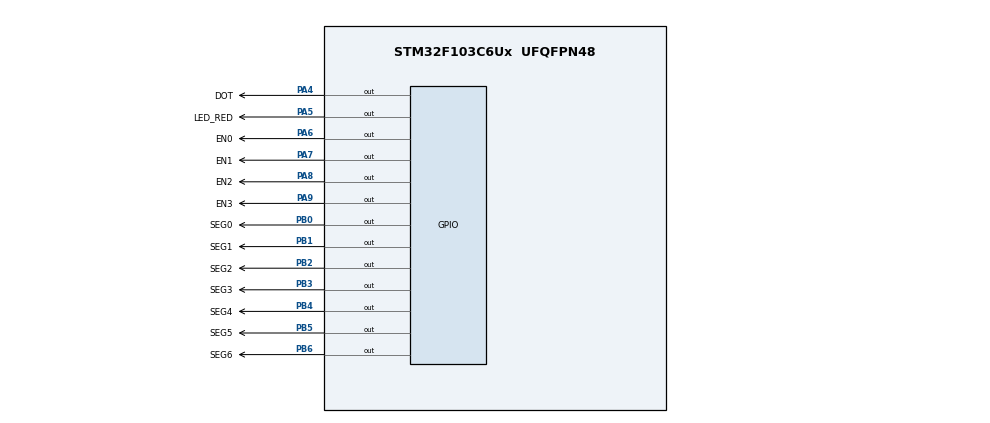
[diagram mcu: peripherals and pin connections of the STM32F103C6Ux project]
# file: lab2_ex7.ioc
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Mcu.Family=STM32F1
Mcu.Name=STM32F103C6Ux
Mcu.Package=UFQFPN48
NVIC.PriorityGroup=NVIC_PRIORITYGROUP_4
NVIC.TIM2_IRQn=true\:0\:0\:false\:false\:true\:true\:true
PA4.GPIO_Label=DOT
PA4.Signal=GPIO_Output
PA5.GPIO_Label=LED_RED
PA5.Signal=GPIO_Output
PA6.GPIO_Label=EN0
PA6.Signal=GPIO_Output
PA7.GPIO_Label=EN1
PA7.Signal=GPIO_Output
PA8.GPIO_Label=EN2
PA8.Signal=GPIO_Output
PA9.GPIO_Label=EN3
PA9.Signal=GPIO_Output
PB0.GPIO_Label=SEG0
PB0.Signal=GPIO_Output
PB1.GPIO_Label=SEG1
PB1.Signal=GPIO_Output
PB2.GPIO_Label=SEG2
PB2.Signal=GPIO_Output
PB3.GPIO_Label=SEG3
PB3.Signal=GPIO_Output
PB4.GPIO_Label=SEG4
PB4.Signal=GPIO_Output
PB5.GPIO_Label=SEG5
PB5.Signal=GPIO_Output
PB6.GPIO_Label=SEG6
PB6.Signal=GPIO_Output
ProjectManager.HeapSize=0x200
ProjectManager.StackSize=0x400
ProjectManager.TargetToolchain=STM32CubeIDE
RCC.APB1Freq_Value=8000000
RCC.APB2Freq_Value=8000000
TIM2.Period=9
TIM2.Prescaler=7999
VP_SYS_VS_ND.Mode=No_Debug
VP_TIM2_VS_ClockSourceINT.Mode=Internal
board=custom

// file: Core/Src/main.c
/* USER CODE BEGIN Header */
/**
  ******************************************************************************
  * @file           : main.c
  * @brief          : Main program body
  ******************************************************************************
  * @attention
  *
  * <h2><center>&copy; Copyright (c) 2023 STMicroelectronics.
  * All rights reserved.</center></h2>
  *
  * This software component is licensed by ST under BSD 3-Clause license,
  * the "License"; You may not use this file except in compliance with the
  * License. You may obtain a copy of the License at:
  *                        opensource.org/licenses/BSD-3-Clause
  *
  ******************************************************************************
  */
/* USER CODE END Header */
#include "main.h"

TIM_HandleTypeDef htim2;

void SystemClock_Config(void);
static void MX_GPIO_Init(void);
static void MX_TIM2_Init(void);

/* USER CODE BEGIN 0 */
// display led 7 segment
void display7SEG(int num){
	  HAL_GPIO_WritePin(SEG0_GPIO_Port, SEG0_Pin, RESET);
	  HAL_GPIO_WritePin(SEG1_GPIO_Port, SEG1_Pin, RESET);
	  HAL_GPIO_WritePin(SEG2_GPIO_Port, SEG2_Pin, RESET);
	  HAL_GPIO_WritePin(SEG3_GPIO_Port, SEG3_Pin, RESET);
	  HAL_GPIO_WritePin(SEG4_GPIO_Port, SEG4_Pin, RESET);
	  HAL_GPIO_WritePin(SEG5_GPIO_Port, SEG5_Pin, RESET);
	  HAL_GPIO_WritePin(SEG6_GPIO_Port, SEG6_Pin, RESET);
	  switch(num){
		  case 0:
			  HAL_GPIO_WritePin(SEG6_GPIO_Port, SEG6_Pin, SET);
			  break;
		  case 1:
			  HAL_GPIO_WritePin(SEG0_GPIO_Port, SEG0_Pin, SET);
			  HAL_GPIO_WritePin(SEG3_GPIO_Port, SEG3_Pin, SET);
			  HAL_GPIO_WritePin(SEG4_GPIO_Port, SEG4_Pin, SET);
			  HAL_GPIO_WritePin(SEG5_GPIO_Port, SEG5_Pin, SET);
			  HAL_GPIO_WritePin(SEG6_GPIO_Port, SEG6_Pin, SET);
			  break;
		  case 2:
			  HAL_GPIO_WritePin(SEG2_GPIO_Port, SEG2_Pin, SET);
			  HAL_GPIO_WritePin(SEG5_GPIO_Port, SEG5_Pin, SET);
			  break;
		  case 3:
			  HAL_GPIO_WritePin(SEG4_GPIO_Port, SEG4_Pin, SET);
			  HAL_GPIO_WritePin(SEG5_GPIO_Port, SEG5_Pin, SET);
			  break;
		  case 4:
			  HAL_GPIO_WritePin(SEG0_GPIO_Port, SEG0_Pin, SET);
			  HAL_GPIO_WritePin(SEG3_GPIO_Port, SEG3_Pin, SET);
			  HAL_GPIO_WritePin(SEG4_GPIO_Port, SEG4_Pin, SET);
			  break;
		  case 5:
			  HAL_GPIO_WritePin(SEG1_GPIO_Port, SEG1_Pin, SET);
			  HAL_GPIO_WritePin(SEG4_GPIO_Port, SEG4_Pin, SET);
			  break;
		  case 6:
			  HAL_GPIO_WritePin(SEG1_GPIO_Port, SEG1_Pin, SET);
			  break;
		  case 7:
			  HAL_GPIO_WritePin(SEG3_GPIO_Port, SEG3_Pin, SET);
			  HAL_GPIO_WritePin(SEG4_GPIO_Port, SEG4_Pin, SET);
			  HAL_GPIO_WritePin(SEG5_GPIO_Port, SEG5_Pin, SET);
			  HAL_GPIO_WritePin(SEG6_GPIO_Port, SEG6_Pin, SET);
			  break;
		  case 8:
			  break;
		  case 9:
			  HAL_GPIO_WritePin(SEG4_GPIO_Port, SEG4_Pin, SET);
			  break;
		  default:
			  break;
	  }
}

const int MAX_LED = 4;
int index_led = 0;
int led_buffer[4] = {1 , 5 , 0 , 8};
int hour, minute, second;

void update7SEG (int index){
	HAL_GPIO_WritePin(EN0_GPIO_Port, EN0_Pin, 1);
	HAL_GPIO_WritePin(EN1_GPIO_Port, EN1_Pin, 1);
	HAL_GPIO_WritePin(EN2_GPIO_Port, EN2_Pin, 1);
	HAL_GPIO_WritePin(EN3_GPIO_Port, EN3_Pin, 1);
	switch (index){
		case 0:
			// Display the first 7 SEG with SEG1uffer [0]
			HAL_GPIO_WritePin(EN0_GPIO_Port, EN0_Pin, 0);
			display7SEG(led_buffer[0]);
			break ;
		case 1:
			// Display the second 7 SEG with SEG1uffer [1]
			HAL_GPIO_WritePin(EN1_GPIO_Port, EN1_Pin, 0);
			display7SEG(led_buffer[1]);
			break ;
		case 2:
			// Display the third 7 SEG with SEG1uffer [2]
			HAL_GPIO_WritePin(EN2_GPIO_Port, EN2_Pin, 0);
			display7SEG(led_buffer[2]);
			break ;
		case 3:
			// Display the forth 7 SEG with SEG1uffer [3]
			HAL_GPIO_WritePin(EN3_GPIO_Port, EN3_Pin, 0);
			display7SEG(led_buffer[3]);
			break ;
		default :
			break ;
	}
}

void updateClockBuffer(){
	if(hour < 10){
		led_buffer[0] = 0;
		led_buffer[1] = hour;
	}
	if(hour >= 10){
		led_buffer[0] = hour/10;
		led_buffer[1] = hour%10;
	}
	if(minute < 10){
		led_buffer[2] = 0;
		led_buffer[3] = minute;
	}
	if(minute >= 10){
		led_buffer[2] = minute/10;
		led_buffer[3] = minute%10;
	}
}

//software timer
// timer for LED_RED and DOT
int timer0_counter = 0;
int timer0_flag = 0;

//timer for update values for hour, minute and second
int timer1_counter = 0;
int timer1_flag = 0;

int TIMER_CYCLE = 10;

//set timer for LED_RED and DOT
void setTimer0(int duration){
	timer0_counter = duration /TIMER_CYCLE;
	timer0_flag = 0;
}

//set timer for update values for hour, minute and second
void setTimer1(int duration){
	timer1_counter = duration /TIMER_CYCLE;
	timer1_flag = 0;
}

void timer_run(){
	//counter for LED_RED and DOT
	if(timer0_counter > 0){
		timer0_counter--;
		if(timer0_counter == 0) timer0_flag = 1;
	}

	//counter for update values hour, minute, second
	if(timer1_counter > 0){
		timer1_counter--;
		if(timer1_counter == 0) timer1_flag = 1;
	}
}
/* USER CODE END 0 */

int main(void)
{

  /* MCU Configuration--------------------------------------------------------*/

  /* Reset of all peripherals, Initializes the Flash interface and the Systick. */
  HAL_Init();

  /* Configure the system clock */
  SystemClock_Config();

  /* Initialize all configured peripherals */
  MX_GPIO_Init();
  MX_TIM2_Init();
  /* USER CODE BEGIN 2 */
  HAL_TIM_Base_Start_IT(&htim2);
  /* USER CODE END 2 */

  /* Infinite loop */
  /* USER CODE BEGIN WHILE */
  hour = 15;
  minute = 8;
  second = 50;
  setTimer0(1000);
  setTimer1(1000);
  while (1)
  {
    /* USER CODE END WHILE */
	  //control LED_RED and DOT
	  if(timer0_flag == 1){
	      HAL_GPIO_TogglePin(LED_RED_GPIO_Port, LED_RED_Pin);
	      HAL_GPIO_TogglePin(DOT_GPIO_Port, DOT_Pin);
	      setTimer0(1000);
	  }
	  //control update values for hour, minute and second
	  if(timer1_flag == 1){
		  second++;
		  if(second >= 60){
			  second = 0;
			  minute++;
		  }
		  if(minute >= 60){
			  minute = 0;
			  hour++;
		  }
		  if(hour >= 24){
			  hour = 0;
		  }
		  updateClockBuffer();
		  setTimer1(1000);
	  }

  }
}

void SystemClock_Config(void)
{
  RCC_OscInitTypeDef RCC_OscInitStruct = {0};
  RCC_ClkInitTypeDef RCC_ClkInitStruct = {0};

  /** Initializes the RCC Oscillators according to the specified parameters
  * in the RCC_OscInitTypeDef structure.
  */
  RCC_OscInitStruct.OscillatorType = RCC_OSCILLATORTYPE_HSI;
  RCC_OscInitStruct.HSIState = RCC_HSI_ON;
  RCC_OscInitStruct.HSICalibrationValue = RCC_HSICALIBRATION_DEFAULT;
  RCC_OscInitStruct.PLL.PLLState = RCC_PLL_NONE;
  if (HAL_RCC_OscConfig(&RCC_OscInitStruct) != HAL_OK)
  {
    Error_Handler();
  }
  /** Initializes the CPU, AHB and APB buses clocks
  */
  RCC_ClkInitStruct.ClockType = RCC_CLOCKTYPE_HCLK|RCC_CLOCKTYPE_SYSCLK
                              |RCC_CLOCKTYPE_PCLK1|RCC_CLOCKTYPE_PCLK2;
  RCC_ClkInitStruct.SYSCLKSource = RCC_SYSCLKSOURCE_HSI;
  RCC_ClkInitStruct.AHBCLKDivider = RCC_SYSCLK_DIV1;
  RCC_ClkInitStruct.APB1CLKDivider = RCC_HCLK_DIV1;
  RCC_ClkInitStruct.APB2CLKDivider = RCC_HCLK_DIV1;

  if (HAL_RCC_ClockConfig(&RCC_ClkInitStruct, FLASH_LATENCY_0) != HAL_OK)
  {
    Error_Handler();
  }
}

static void MX_TIM2_Init(void)
{

  TIM_ClockConfigTypeDef sClockSourceConfig = {0};
  TIM_MasterConfigTypeDef sMasterConfig = {0};

  htim2.Instance = TIM2;
  htim2.Init.Prescaler = 7999;
  htim2.Init.CounterMode = TIM_COUNTERMODE_UP;
  htim2.Init.Period = 9;
  htim2.Init.ClockDivision = TIM_CLOCKDIVISION_DIV1;
  htim2.Init.AutoReloadPreload = TIM_AUTORELOAD_PRELOAD_DISABLE;
  if (HAL_TIM_Base_Init(&htim2) != HAL_OK)
  {
    Error_Handler();
  }
  sClockSourceConfig.ClockSource = TIM_CLOCKSOURCE_INTERNAL;
  if (HAL_TIM_ConfigClockSource(&htim2, &sClockSourceConfig) != HAL_OK)
  {
    Error_Handler();
  }
  sMasterConfig.MasterOutputTrigger = TIM_TRGO_RESET;
  sMasterConfig.MasterSlaveMode = TIM_MASTERSLAVEMODE_DISABLE;
  if (HAL_TIMEx_MasterConfigSynchronization(&htim2, &sMasterConfig) != HAL_OK)
  {
    Error_Handler();
  }

}

static void MX_GPIO_Init(void)
{
  GPIO_InitTypeDef GPIO_InitStruct = {0};

  /* GPIO Ports Clock Enable */
  __HAL_RCC_GPIOA_CLK_ENABLE();
  __HAL_RCC_GPIOB_CLK_ENABLE();

  /*Configure GPIO pin Output Level */
  HAL_GPIO_WritePin(GPIOA, DOT_Pin|LED_RED_Pin|EN0_Pin|EN1_Pin
                          |EN2_Pin|EN3_Pin, GPIO_PIN_RESET);

  /*Configure GPIO pin Output Level */
  HAL_GPIO_WritePin(GPIOB, SEG0_Pin|SEG1_Pin|SEG2_Pin|SEG3_Pin
                          |SEG4_Pin|SEG5_Pin|SEG6_Pin, GPIO_PIN_RESET);

  /*Configure GPIO pins : DOT_Pin LED_RED_Pin EN0_Pin EN1_Pin
                           EN2_Pin EN3_Pin */
  GPIO_InitStruct.Pin = DOT_Pin|LED_RED_Pin|EN0_Pin|EN1_Pin
                          |EN2_Pin|EN3_Pin;
  GPIO_InitStruct.Mode = GPIO_MODE_OUTPUT_PP;
  GPIO_InitStruct.Pull = GPIO_NOPULL;
  GPIO_InitStruct.Speed = GPIO_SPEED_FREQ_LOW;
  HAL_GPIO_Init(GPIOA, &GPIO_InitStruct);

  /*Configure GPIO pins : SEG0_Pin SEG1_Pin SEG2_Pin SEG3_Pin
                           SEG4_Pin SEG5_Pin SEG6_Pin */
  GPIO_InitStruct.Pin = SEG0_Pin|SEG1_Pin|SEG2_Pin|SEG3_Pin
                          |SEG4_Pin|SEG5_Pin|SEG6_Pin;
  GPIO_InitStruct.Mode = GPIO_MODE_OUTPUT_PP;
  GPIO_InitStruct.Pull = GPIO_NOPULL;
  GPIO_InitStruct.Speed = GPIO_SPEED_FREQ_LOW;
  HAL_GPIO_Init(GPIOB, &GPIO_InitStruct);

}

/* USER CODE BEGIN 4 */
int led7_counter = 25;

void HAL_TIM_PeriodElapsedCallback(TIM_HandleTypeDef *htim){
	//software timer
	timer_run();
	// LED 7 SEGMENT
	if(led7_counter > 0){
		led7_counter--;
		if(led7_counter <= 0){
			led7_counter = 25;
			//TODO
			if(index_led >= MAX_LED){
				index_led = 0;
			}
			update7SEG(index_led++);
		}
	}
}
/* USER CODE END 4 */

void Error_Handler(void)
{
  __disable_irq();
  while (1)
  {
  }
}

/************************ (C) COPYRIGHT STMicroelectronics *****END OF FILE****/
